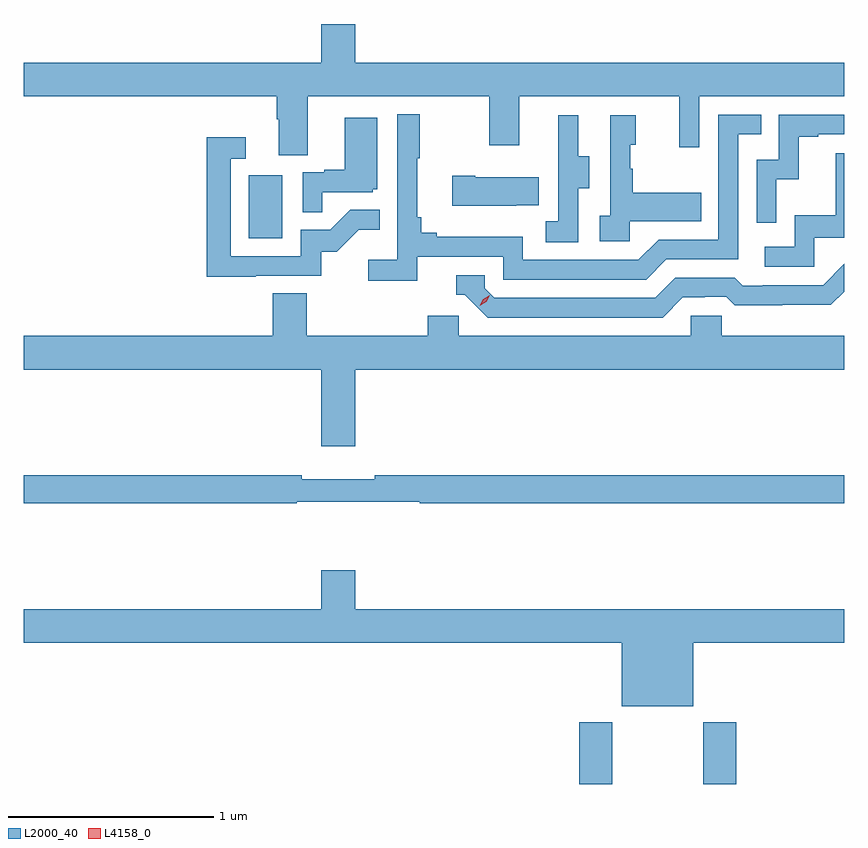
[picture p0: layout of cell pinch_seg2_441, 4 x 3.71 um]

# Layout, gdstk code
import gdstk
lib = gdstk.Library(unit=1e-6, precision=1e-09)
def R(c, l, rs):  # rectangles x0, y0, x1, y1
    for r in rs: c.add(gdstk.rectangle(r[:2], r[2:], *l))
def P(c, l, *ps):  # polygons
    for p in ps: c.add(gdstk.Polygon(p, *l))
L2000_40 = (2000, 40)
L4158_0 = (4158, 0)

pinch_seg2_441 = lib.new_cell('pinch_seg2_441')
R(pinch_seg2_441, L2000_40, [(921.509,605.655,921.669,605.956), (922.114,605.655,922.274,605.956), (919.898,608.316,920.062,608.623)])
P(pinch_seg2_441, L2000_40, [(920.185,609.008),(921.07,609.008),(921.07,608.769),(921.217,608.769),(921.217,609.008),(921.998,609.008),(921.998,608.76),(922.095,608.76),(922.095,609.008),(922.801,609.008),(922.801,609.172),(920.416,609.172),(920.416,609.361),(920.252,609.361),(920.252,609.172),(918.801,609.172),(918.801,609.008),(920.033,609.008),(920.033,608.896),(920.045,608.896),(920.045,608.722),(920.185,608.722)],
  [(920.72,608.226),(921.138,608.226),(921.138,608.115),(921.835,608.115),(921.934,608.214),(922.284,608.214),(922.284,608.823),(922.397,608.823),(922.397,608.919),(922.188,608.919),(922.188,608.31),(921.897,608.31),(921.798,608.211),(921.234,608.211),(921.234,608.323),(920.815,608.323),(920.815,608.342),(920.738,608.342),(920.738,608.419),(920.719,608.419),(920.719,608.707),(920.731,608.707),(920.731,608.92),(920.622,608.92),(920.622,608.212),(920.481,608.212),(920.481,608.11),(920.72,608.11)],
  [(922.47,608.603),(922.58,608.603),(922.58,608.811),(922.675,608.811),(922.675,608.823),(922.801,608.823),(922.801,608.919),(922.482,608.919),(922.482,608.7),(922.374,608.7),(922.374,608.391),(922.47,608.391)],
  [(921.504,608.56),(921.559,608.56),(921.559,608.715),(921.505,608.715),(921.505,608.917),(921.407,608.917),(921.407,608.703),(921.408,608.703),(921.408,608.399),(921.345,608.399),(921.345,608.296),(921.504,608.296)],
  [(921.756,608.399),(922.103,608.399),(922.103,608.539),(921.769,608.539),(921.769,608.654),(921.759,608.654),(921.759,608.772),(921.784,608.772),(921.784,608.917),(921.66,608.917),(921.66,608.426),(921.609,608.426),(921.609,608.301),(921.756,608.301)],
  [(920.255,608.541),(920.502,608.541),(920.502,608.556),(920.524,608.556),(920.524,608.905),(920.366,608.905),(920.366,608.65),(920.267,608.65),(920.267,608.637),(920.16,608.637),(920.16,608.443),(920.255,608.443)],
  [(919.931,608.133),(920.25,608.133),(920.25,608.25),(920.326,608.25),(920.433,608.357),(920.537,608.357),(920.537,608.456),(920.393,608.456),(920.295,608.358),(920.151,608.358),(920.151,608.229),(919.809,608.229),(919.809,608.703),(919.882,608.703),(919.882,608.809),(919.693,608.809),(919.693,608.128),(919.931,608.128)],
  [(922.656,608.319),(922.801,608.319),(922.801,608.731),(922.759,608.731),(922.759,608.428),(922.56,608.428),(922.56,608.274),(922.413,608.274),(922.413,608.178),(922.656,608.178)],
  [(921.203,608.477),(921.311,608.477),(921.311,608.614),(921.001,608.614),(921.001,608.622),(920.889,608.622),(920.889,608.474),(921.203,608.474)],
  [(922.015,608.028),(922.122,608.028),(922.122,608.031),(922.225,608.031),(922.267,607.989),(922.5,607.989),(922.5,607.991),(922.736,607.991),(922.801,608.056),(922.801,608.191),(922.698,608.088),(922.405,608.088),(922.405,608.085),(922.306,608.085),(922.267,608.124),(921.978,608.124),(921.879,608.025),(921.096,608.025),(921.048,608.073),(921.048,608.136),(920.909,608.136),(920.909,608.04),(920.952,608.04),(921.063,607.929),(921.916,607.929)],
  [(920.416,607.676),(922.801,607.676),(922.801,607.84),(922.203,607.84),(922.203,607.938),(922.053,607.938),(922.053,607.84),(920.922,607.84),(920.922,607.938),(920.771,607.938),(920.771,607.84),(920.18,607.84),(920.18,608.048),(920.015,608.048),(920.015,607.84),(918.801,607.84),(918.801,607.676),(920.252,607.676),(920.252,607.302),(920.416,607.302)],
  [(920.132,607.032),(920.732,607.032),(920.732,607.024),(922.801,607.024),(922.801,607.16),(920.512,607.16),(920.512,607.141),(920.156,607.141),(920.156,607.16),(918.801,607.16),(918.801,607.024),(920.132,607.024)],
  [(922.066,606.344),(922.801,606.344),(922.801,606.508),(920.416,606.508),(920.416,606.697),(920.252,606.697),(920.252,606.508),(918.801,606.508),(918.801,606.344),(921.716,606.344),(921.716,606.035),(922.066,606.035)])
P(pinch_seg2_441, L4158_0, [(921.024,607.988),(921.024,607.988),(921.041,608.02),(921.072,608.039),(921.072,608.039),(921.072,608.038),(921.055,608.006),(921.024,607.988)])

lib.write_gds('pinch_seg2_441.gds')
